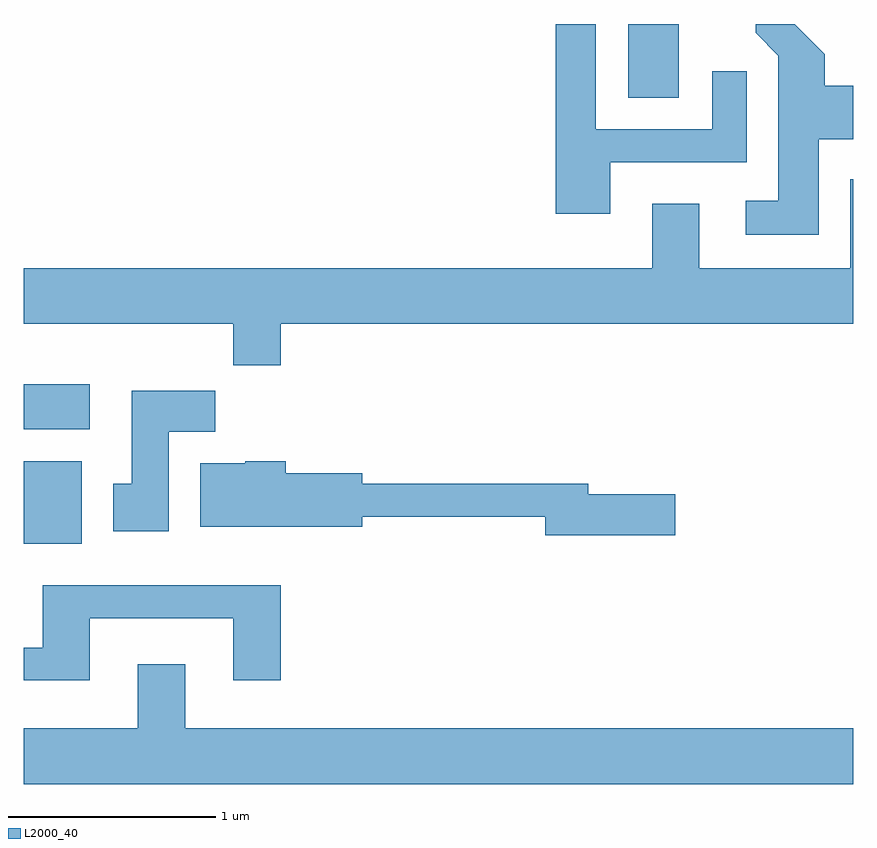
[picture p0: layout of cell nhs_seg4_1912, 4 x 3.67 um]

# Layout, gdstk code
import gdstk
lib = gdstk.Library(unit=1e-6, precision=1e-09)
def R(c, l, rs):  # rectangles x0, y0, x1, y1
    for r in rs: c.add(gdstk.rectangle(r[:2], r[2:], *l))
def P(c, l, *ps):  # polygons
    for p in ps: c.add(gdstk.Polygon(p, *l))
L2000_40 = (2000, 40)

nhs_seg4_1912 = lib.new_cell('nhs_seg4_1912')
R(nhs_seg4_1912, L2000_40, [(241.611,1271.476,241.889,1271.874), (241.611,1272.026,241.929,1272.244), (244.526,1273.626,244.769,1273.982)])
P(nhs_seg4_1912, L2000_40, [(244.439,1273.316),(245.099,1273.316),(245.099,1273.753),(244.931,1273.753),(244.931,1273.474),(244.369,1273.474),(244.369,1273.982),(244.176,1273.982),(244.176,1273.066),(244.439,1273.066)],
  [(245.444,1273.426),(245.611,1273.426),(245.611,1273.684),(245.474,1273.684),(245.474,1273.837),(245.329,1273.982),(245.141,1273.982),(245.141,1273.939),(245.251,1273.829),(245.251,1273.129),(245.093,1273.129),(245.093,1272.966),(245.444,1272.966)],
  [(242.849,1272.536),(245.611,1272.536),(245.611,1273.233),(245.596,1273.233),(245.596,1272.804),(244.869,1272.804),(244.869,1273.114),(244.641,1273.114),(244.641,1272.804),(241.611,1272.804),(241.611,1272.536),(242.621,1272.536),(242.621,1272.336),(242.849,1272.336)],
  [(242.309,1272.016),(242.534,1272.016),(242.534,1272.214),(242.131,1272.214),(242.131,1271.764),(242.041,1271.764),(242.041,1271.536),(242.309,1271.536)],
  [(244.754,1271.714),(244.334,1271.714),(244.334,1271.764),(243.244,1271.764),(243.244,1271.814),(242.874,1271.814),(242.874,1271.874),(242.68,1271.874),(242.68,1271.864),(242.461,1271.864),(242.461,1271.556),(243.244,1271.556),(243.244,1271.606),(244.126,1271.606),(244.126,1271.516),(244.754,1271.516)],
  [(241.929,1271.116),(242.621,1271.116),(242.621,1270.816),(242.849,1270.816),(242.849,1271.274),(241.701,1271.274),(241.701,1270.974),(241.611,1270.974),(241.611,1270.816),(241.929,1270.816)],
  [(245.611,1270.584),(242.389,1270.584),(242.389,1270.894),(242.161,1270.894),(242.161,1270.584),(241.611,1270.584),(241.611,1270.316),(245.611,1270.316)])

lib.write_gds('nhs_seg4_1912.gds')
